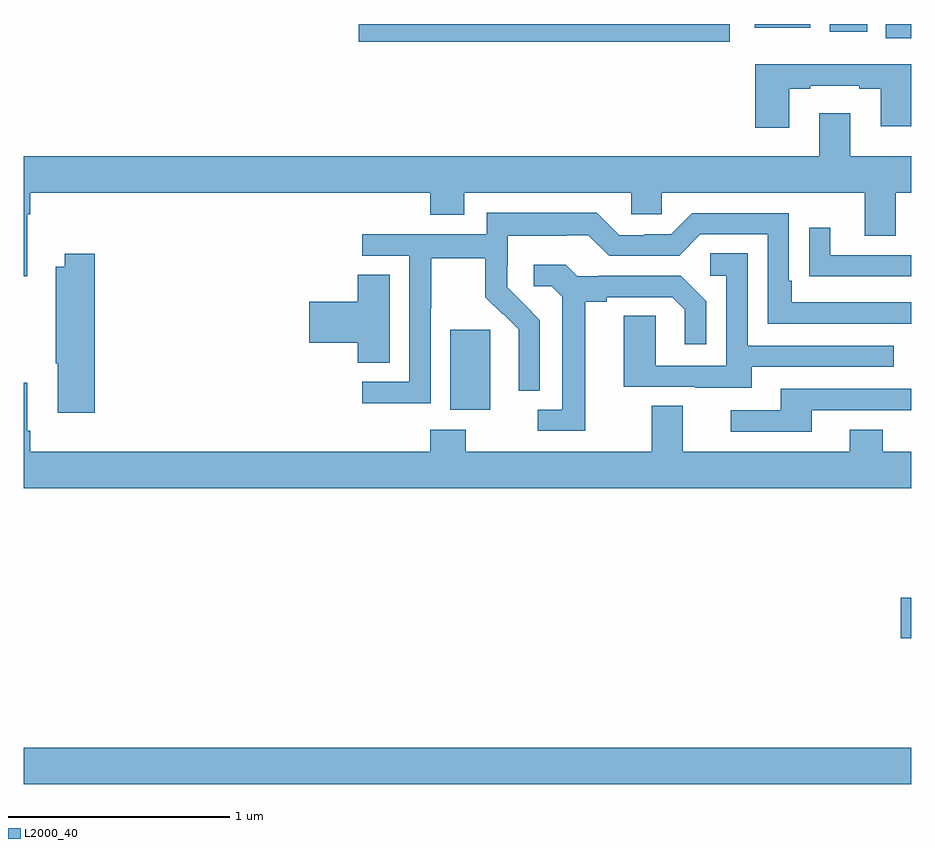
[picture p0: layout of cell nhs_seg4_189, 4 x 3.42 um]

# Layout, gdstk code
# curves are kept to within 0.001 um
import gdstk
lib = gdstk.Library(unit=1e-6, precision=1e-09)
def R(c, l, rs):  # rectangles x0, y0, x1, y1
    for r in rs: c.add(gdstk.rectangle(r[:2], r[2:], *l))
def P(c, l, *ps):  # polygons
    for p in ps: c.add(gdstk.Polygon(p, *l))
L2000_40 = (2000, 40)

nhs_seg4_189 = lib.new_cell('nhs_seg4_189')
R(nhs_seg4_189, L2000_40, [(119,807.476,123,807.64), (122.952,808.133,123,808.316), (120.923,809.162,121.102,809.523), (120.511,810.82,122.181,810.9), (122.885,810.836,123,810.9), (122.633,810.864,122.8,810.9), (122.294,810.884,122.545,810.9)])
P(nhs_seg4_189, L2000_40, [(122.449,810.609),(122.545,810.609),(122.545,810.621),(122.765,810.621),(122.765,810.609),(122.861,810.609),(122.861,810.44),(123,810.44),(123,810.718),(122.297,810.718),(122.297,810.432),(122.449,810.432)],
  [(119.017,810.044),(119.03,810.044),(119.03,810.14),(120.833,810.14),(120.833,810.041),(120.985,810.041),(120.985,810.14),(121.737,810.14),(121.737,810.042),(121.875,810.042),(121.875,810.14),(122.789,810.14),(122.789,809.946),(122.929,809.946),(122.929,810.14),(123,810.14),(123,810.304),(122.725,810.304),(122.725,810.499),(122.585,810.499),(122.585,810.304),(119,810.304),(119,809.763),(119.017,809.763)],
  [(120.834,809.62),(120.837,809.62),(120.837,809.844),(121.081,809.844),(121.081,809.669),(121.158,809.592),(121.161,809.595),(121.232,809.525),(121.232,809.402),(121.23,809.402),(121.23,809.248),(121.326,809.248),(121.326,809.566),(121.18,809.714),(121.18,809.811),(121.182,809.811),(121.182,809.945),(121.445,809.945),(121.445,809.949),(121.545,809.949),(121.638,809.856),(121.953,809.856),(122.049,809.952),(122.352,809.952),(122.352,809.55),(123,809.55),(123,809.646),(122.461,809.646),(122.461,809.743),(122.448,809.743),(122.448,810.048),(122.013,810.048),(121.917,809.952),(121.799,809.952),(121.799,809.949),(121.683,809.949),(121.583,810.049),(121.086,810.049),(121.086,809.952),(120.525,809.952),(120.525,809.856),(120.738,809.856),(120.738,809.289),(120.525,809.289),(120.525,809.191),(120.834,809.191)],
  [(123,809.859),(122.635,809.859),(122.635,809.983),(122.539,809.983),(122.539,809.764),(122.641,809.764),(122.641,809.763),(123,809.763)],
  [(122.281,809.355),(122.921,809.355),(122.921,809.451),(122.262,809.451),(122.262,809.867),(122.094,809.867),(122.094,809.766),(122.166,809.766),(122.166,809.361),(121.848,809.361),(121.848,809.585),(121.703,809.585),(121.703,809.265),(122.027,809.265),(122.027,809.261),(122.281,809.261)],
  [(119.321,809.866),(119.186,809.866),(119.186,809.806),(119.146,809.806),(119.146,809.371),(119.153,809.371),(119.153,809.148),(119.321,809.148)],
  [(121.531,809.648),(121.627,809.648),(121.627,809.67),(121.922,809.67),(121.979,809.613),(121.979,809.457),(122.076,809.457),(122.076,809.65),(121.96,809.766),(121.588,809.766),(121.588,809.763),(121.494,809.763),(121.442,809.815),(121.299,809.815),(121.299,809.718),(121.38,809.718),(121.427,809.671),(121.427,809.163),(121.317,809.163),(121.317,809.067),(121.531,809.067)],
  [(120.649,809.771),(120.506,809.771),(120.506,809.648),(120.288,809.648),(120.288,809.465),(120.506,809.465),(120.506,809.374),(120.649,809.374)],
  [(123,808.972),(122.871,808.972),(122.871,809.071),(122.723,809.071),(122.723,808.972),(121.969,808.972),(121.969,809.18),(121.829,809.18),(121.829,808.972),(120.993,808.972),(120.993,809.071),(120.833,809.071),(120.833,808.972),(119.03,808.972),(119.03,809.068),(119.017,809.068),(119.017,809.284),(119,809.284),(119,808.808),(123,808.808)],
  [(122.551,809.16),(123,809.16),(123,809.256),(122.411,809.256),(122.411,809.16),(122.187,809.16),(122.187,809.064),(122.551,809.064)])

lib.write_gds('nhs_seg4_189.gds')
